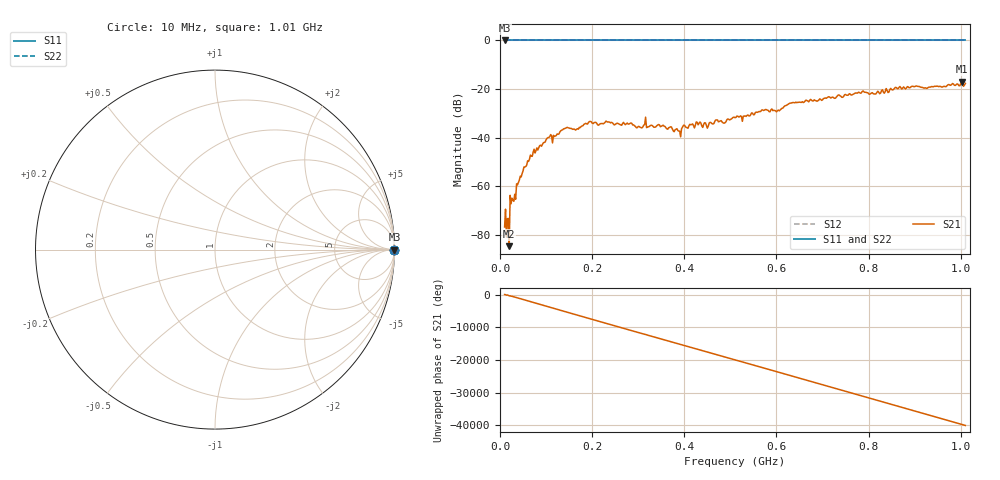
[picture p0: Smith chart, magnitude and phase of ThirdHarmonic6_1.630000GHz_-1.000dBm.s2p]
! 8/16/2025 7:29:07 PM
! C:\ANRITSUVNA\TEMP\TEMP.S2P
! CHANNEL.1
! TR.MEASUREMENT
! RAW.DATA
! RF.CORRECTION.OFF
! AVERAGING.OFF
! IF.BANDWIDTH: 5KHZ
! SWEEPTYPE:  FREQ.SWEEP(Linear)
! Reference Plane Port Info
! PORT:  PORT1  PORT2
! DISTANCE:  0  m  0  m
! TIME:  0  s  0  s
! PHASE.OFFSET:  0  deg.  0  deg.
! LOSS:  0  dB  0  dB
! REF.LOSS:  0  dB  0  dB
! REF.FREQ:  0  Hz  0  Hz
! Power Info
! POWER:  -20  dBm  -20  dBm
! EFF.POWER:  -20  dBm  -20  dBm
! SOURCE.ATTEN:  0  dB  0  dB
! TEST.ATTEN:  0  dB  0  dB
# GHZ S RI R 50.0
! FREQ.GHZ  S11RE  S11IM  S21RE  S21IM  S12RE  S12IM  S22RE  S22IM
!; PortSelection: Port_12
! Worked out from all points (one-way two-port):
!   501 points, 10 MHz to 1.01 GHz, reference 50 ohm
!   highest |S21| = -16.93 dB at 1.002 GHz (marker M1); lowest = -84.6 dB at 20 MHz (marker M2)
!   lowest |S11| = 0.0 dB at 10 MHz (marker M3)
!   |S11| at or under -10 dB: nowhere
!   |S22| runs from 0.0 to 0.0 dB; largest |S21 - S12| = 1.1
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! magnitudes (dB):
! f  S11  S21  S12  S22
! 10 MHz  0.0  -76.6  0.0  0.0
! 16 MHz  0.0  -73.3  0.0  0.0
! 20 MHz  0.0  -84.6  0.0  0.0
! 26 MHz  0.0  -64.8  0.0  0.0
! 30 MHz  0.0  -66.1  0.0  0.0
! 40 MHz  0.0  -58.3  0.0  0.0
! 70 MHz  0.0  -47.6  0.0  0.0
! 106 MHz  0.0  -39.8  0.0  0.0
! 118 MHz  0.0  -39.5  0.0  0.0
! 142 MHz  0.0  -36.1  0.0  0.0
! 178 MHz  0.0  -35.2  0.0  0.0
! 234 MHz  0.0  -33.5  0.0  0.0
! 300 MHz  0.0  -35.3  0.0  0.0
! 344 MHz  0.0  -34.6  0.0  0.0
! 390 MHz  0.0  -37.3  0.0  0.0
! 414 MHz  0.0  -34.6  0.0  0.0
! 486 MHz  0.0  -34.0  0.0  0.0
! 510 MHz  0.0  -31.7  0.0  0.0
! 678 MHz  0.0  -24.8  0.0  0.0
! 844 MHz  0.0  -21.2  0.0  0.0
! 1.002 GHz  0.0  -16.9  0.0  0.0
! 1.01 GHz  0.0  -17.7  0.0  0.0
